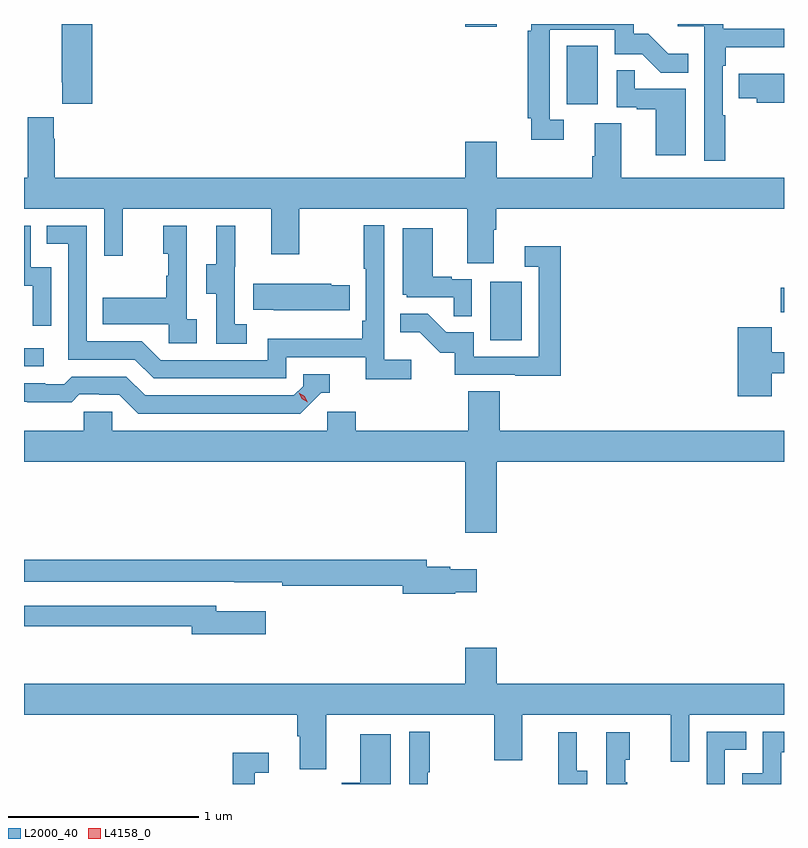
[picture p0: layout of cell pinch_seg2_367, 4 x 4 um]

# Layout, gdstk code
import gdstk
lib = gdstk.Library(unit=1e-6, precision=1e-09)
def R(c, l, rs):  # rectangles x0, y0, x1, y1
    for r in rs: c.add(gdstk.rectangle(r[:2], r[2:], *l))
def P(c, l, *ps):  # polygons
    for p in ps: c.add(gdstk.Polygon(p, *l))
L2000_40 = (2000, 40)
L4158_0 = (4158, 0)

pinch_seg2_367 = lib.new_cell('pinch_seg2_367')
R(pinch_seg2_367, L2000_40, [(989.857,618.834,989.962,618.93), (992.312,618.972,992.476,619.279), (993.84,619.118,993.857,619.248), (992.714,620.214,992.878,620.521), (992.18,620.622,992.344,620.636)])
P(pinch_seg2_367, L2000_40, [(990.215,620.636),(990.055,620.636),(990.055,620.329),(990.059,620.329),(990.059,620.217),(990.215,620.217)],
  [(992.698,620.133),(992.625,620.133),(992.625,620.607),(992.967,620.607),(992.967,620.478),(993.111,620.478),(993.209,620.38),(993.353,620.38),(993.353,620.479),(993.249,620.479),(993.142,620.586),(993.066,620.586),(993.066,620.636),(992.528,620.636),(992.528,620.6),(992.509,620.6),(992.509,620.14),(992.528,620.14),(992.528,620.028),(992.698,620.028)],
  [(993.547,620.156),(993.534,620.156),(993.534,620.417),(993.551,620.417),(993.551,620.513),(993.857,620.513),(993.857,620.61),(993.536,620.61),(993.536,620.636),(993.297,620.636),(993.297,620.624),(993.438,620.624),(993.438,619.917),(993.547,619.917)],
  [(993.34,620.295),(993.071,620.295),(993.071,620.393),(992.976,620.393),(992.976,620.199),(993.083,620.199),(993.083,620.187),(993.182,620.187),(993.182,619.944),(993.34,619.944)],
  [(993.857,620.374),(993.73,620.374),(993.73,620.373),(993.619,620.373),(993.619,620.245),(993.713,620.245),(993.713,620.222),(993.857,620.222)],
  [(992.329,619.552),(992.342,619.552),(992.342,619.664),(993.857,619.664),(993.857,619.828),(993.001,619.828),(993.001,620.114),(992.861,620.114),(992.861,619.94),(992.849,619.94),(992.849,619.828),(992.344,619.828),(992.344,620.017),(992.18,620.017),(992.18,619.828),(990.02,619.828),(990.02,620.033),(990.013,620.033),(990.013,620.146),(989.876,620.146),(989.876,619.828),(989.857,619.828),(989.857,619.664),(990.279,619.664),(990.279,619.416),(990.377,619.416),(990.377,619.664),(991.157,619.664),(991.157,619.425),(991.305,619.425),(991.305,619.664),(992.189,619.664),(992.189,619.378),(992.329,619.378)],
  [(991.894,618.868),(991.752,618.868),(991.752,619.576),(991.644,619.576),(991.644,619.348),(991.656,619.348),(991.656,619.075),(991.636,619.075),(991.636,618.979),(991.14,618.979),(991.14,618.867),(990.576,618.867),(990.477,618.966),(990.186,618.966),(990.186,619.575),(989.977,619.575),(989.977,619.479),(990.09,619.479),(990.09,618.87),(990.44,618.87),(990.539,618.771),(991.236,618.771),(991.236,618.882),(991.655,618.882),(991.655,618.766),(991.894,618.766)],
  [(990,619.356),(989.892,619.356),(989.892,619.575),(989.857,619.575),(989.857,619.259),(989.904,619.259),(989.904,619.047),(990,619.047)],
  [(991.03,619.055),(990.966,619.055),(990.966,619.359),(990.968,619.359),(990.968,619.573),(990.869,619.573),(990.869,619.371),(990.815,619.371),(990.815,619.216),(990.87,619.216),(990.87,618.952),(991.03,618.952)],
  [(990.766,619.082),(990.714,619.082),(990.714,619.573),(990.59,619.573),(990.59,619.428),(990.616,619.428),(990.616,619.31),(990.606,619.31),(990.606,619.195),(990.271,619.195),(990.271,619.055),(990.618,619.055),(990.618,618.957),(990.766,618.957)],
  [(992.214,619.293),(992.108,619.293),(992.108,619.306),(992.008,619.306),(992.008,619.561),(991.85,619.561),(991.85,619.212),(991.872,619.212),(991.872,619.197),(992.119,619.197),(992.119,619.099),(992.214,619.099)],
  [(992.681,619.465),(992.493,619.465),(992.493,619.359),(992.565,619.359),(992.565,618.885),(992.223,618.885),(992.223,619.014),(992.079,619.014),(991.981,619.112),(991.837,619.112),(991.837,619.013),(991.941,619.013),(992.048,618.906),(992.125,618.906),(992.125,618.789),(992.443,618.789),(992.443,618.784),(992.681,618.784)],
  [(991.571,619.26),(991.473,619.26),(991.473,619.27),(991.063,619.27),(991.063,619.133),(991.171,619.133),(991.171,619.13),(991.571,619.13)],
  [(993.792,618.798),(993.857,618.798),(993.857,618.908),(993.792,618.908),(993.792,619.039),(993.614,619.039),(993.614,618.678),(993.792,618.678)],
  [(991.422,618.696),(991.465,618.696),(991.465,618.792),(991.326,618.792),(991.326,618.729),(991.278,618.681),(990.495,618.681),(990.396,618.78),(990.107,618.78),(990.068,618.741),(989.969,618.741),(989.969,618.744),(989.857,618.744),(989.857,618.647),(989.874,618.647),(989.874,618.645),(990.107,618.645),(990.149,618.687),(990.252,618.687),(990.252,618.684),(990.359,618.684),(990.458,618.585),(991.311,618.585)],
  [(992.195,618.496),(991.604,618.496),(991.604,618.594),(991.452,618.594),(991.452,618.496),(990.321,618.496),(990.321,618.594),(990.171,618.594),(990.171,618.496),(989.857,618.496),(989.857,618.332),(992.18,618.332),(992.18,617.958),(992.344,617.958),(992.344,618.332),(993.857,618.332),(993.857,618.496),(992.36,618.496),(992.36,618.704),(992.195,618.704)],
  [(992.126,617.645),(992.239,617.645),(992.239,617.767),(992.1,617.767),(992.1,617.78),(991.978,617.78),(991.978,617.816),(989.857,617.816),(989.857,617.7),(990.964,617.7),(990.964,617.699),(991.216,617.699),(991.216,617.68),(991.85,617.68),(991.85,617.638),(992.126,617.638)],
  [(991.129,617.545),(990.868,617.545),(990.868,617.574),(989.857,617.574),(989.857,617.466),(990.74,617.466),(990.74,617.423),(991.129,617.423)],
  [(991.447,617),(992.332,617),(992.332,616.761),(992.479,616.761),(992.479,617),(993.26,617),(993.26,616.752),(993.357,616.752),(993.357,617),(993.857,617),(993.857,617.164),(992.344,617.164),(992.344,617.353),(992.18,617.353),(992.18,617.164),(989.857,617.164),(989.857,617),(991.295,617),(991.295,616.888),(991.307,616.888),(991.307,616.714),(991.447,616.714)],
  [(991.981,616.699),(991.993,616.699),(991.993,616.912),(991.884,616.912),(991.884,616.636),(991.981,616.636)],
  [(993.546,616.815),(993.659,616.815),(993.659,616.911),(993.45,616.911),(993.45,616.636),(993.546,616.636)],
  [(993.842,616.803),(993.857,616.803),(993.857,616.911),(993.744,616.911),(993.744,616.692),(993.636,616.692),(993.636,616.636),(993.842,616.636)],
  [(993.031,616.646),(993.021,616.646),(993.021,616.764),(993.046,616.764),(993.046,616.909),(992.922,616.909),(992.922,616.636),(993.031,616.636)],
  [(992.821,616.707),(992.767,616.707),(992.767,616.909),(992.669,616.909),(992.669,616.695),(992.67,616.695),(992.67,616.636),(992.821,616.636)],
  [(991.786,616.897),(991.628,616.897),(991.628,616.642),(991.529,616.642),(991.529,616.636),(991.786,616.636)],
  [(991.071,616.695),(991.144,616.695),(991.144,616.801),(990.955,616.801),(990.955,616.636),(991.071,616.636)])
P(pinch_seg2_367, L4158_0, [(991.35,618.644),(991.319,618.663),(991.302,618.695),(991.302,618.696),(991.303,618.696),(991.334,618.677),(991.35,618.644),(991.35,618.644)])

lib.write_gds('pinch_seg2_367.gds')
